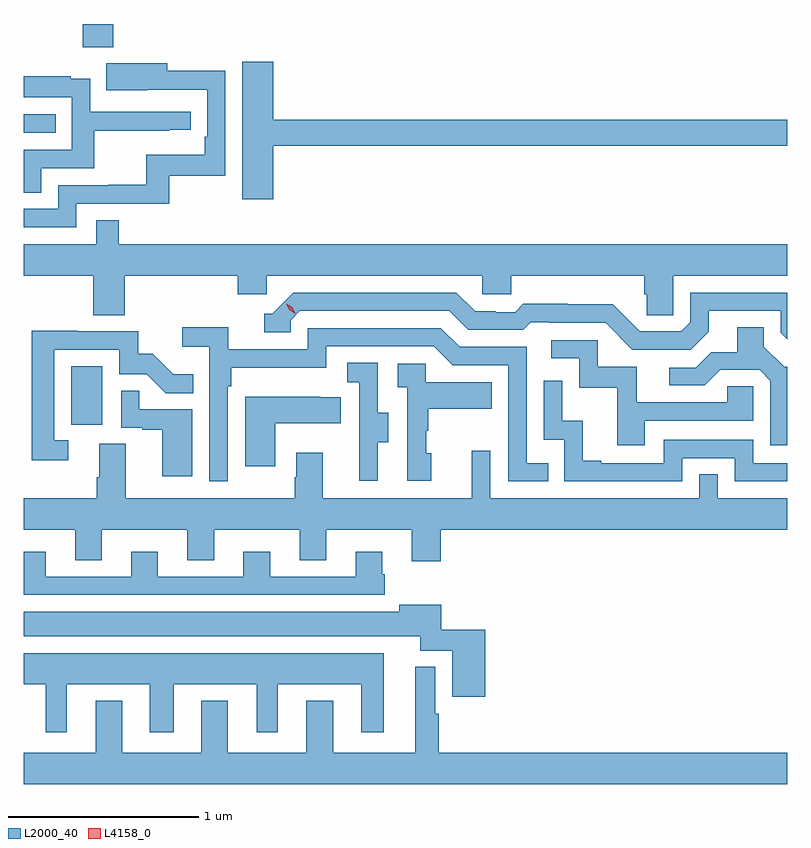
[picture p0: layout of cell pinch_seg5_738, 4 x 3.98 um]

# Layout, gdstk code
import gdstk
lib = gdstk.Library(unit=1e-6, precision=1e-09)
def R(c, l, rs):  # rectangles x0, y0, x1, y1
    for r in rs: c.add(gdstk.rectangle(r[:2], r[2:], *l))
def P(c, l, *ps):  # polygons
    for p in ps: c.add(gdstk.Polygon(p, *l))
L2000_40 = (2000, 40)
L4158_0 = (4158, 0)

pinch_seg5_738 = lib.new_cell('pinch_seg5_738')
R(pinch_seg5_738, L2000_40, [(865.508,899.934,865.672,900.241), (865.26,901.464,865.427,901.56), (865.57,901.913,865.73,902.034)])
P(pinch_seg5_738, L2000_40, [(866.566,901.396),(869.26,901.396),(869.26,901.532),(866.566,901.532),(866.566,901.837),(866.405,901.837),(866.405,901.116),(866.566,901.116)],
  [(865.536,901.092),(866.023,901.092),(866.023,901.239),(866.316,901.239),(866.316,901.79),(866.011,901.79),(866.011,901.828),(865.693,901.828),(865.693,901.688),(865.907,901.688),(865.907,901.689),(866.22,901.689),(866.22,901.444),(866.207,901.444),(866.207,901.348),(865.902,901.348),(865.902,901.193),(865.705,901.193),(865.705,901.188),(865.44,901.188),(865.44,901.065),(865.26,901.065),(865.26,900.969),(865.536,900.969)],
  [(865.351,901.278),(865.628,901.278),(865.628,901.474),(866.021,901.474),(866.021,901.479),(866.134,901.479),(866.134,901.575),(865.608,901.575),(865.608,901.747),(865.505,901.747),(865.505,901.759),(865.26,901.759),(865.26,901.65),(865.512,901.65),(865.512,901.374),(865.26,901.374),(865.26,901.15),(865.351,901.15)],
  [(865.757,901.007),(865.641,901.007),(865.641,900.88),(865.26,900.88),(865.26,900.716),(865.625,900.716),(865.625,900.508),(865.79,900.508),(865.79,900.716),(866.381,900.716),(866.381,900.618),(866.532,900.618),(866.532,900.716),(867.663,900.716),(867.663,900.618),(867.813,900.618),(867.813,900.716),(868.511,900.716),(868.511,900.618),(868.525,900.618),(868.525,900.508),(868.662,900.508),(868.662,900.716),(869.26,900.716),(869.26,900.88),(865.757,900.88)],
  [(868.849,900.421),(868.849,900.531),(869.226,900.531),(869.226,900.417),(869.26,900.383),(869.26,900.627),(868.752,900.627),(868.752,900.471),(868.704,900.423),(868.488,900.423),(868.346,900.565),(868.11,900.565),(868.11,900.568),(867.877,900.568),(867.835,900.525),(867.732,900.525),(867.732,900.528),(867.625,900.528),(867.526,900.627),(866.673,900.627),(866.562,900.516),(866.519,900.516),(866.519,900.42),(866.658,900.42),(866.658,900.483),(866.706,900.531),(867.489,900.531),(867.588,900.432),(867.877,900.432),(867.916,900.471),(868.015,900.471),(868.015,900.468),(868.308,900.468),(868.449,900.327),(868.755,900.327)],
  [(866.328,900.137),(866.348,900.137),(866.348,900.233),(866.844,900.233),(866.844,900.345),(867.408,900.345),(867.507,900.246),(867.798,900.246),(867.798,899.637),(868.007,899.637),(868.007,899.733),(867.894,899.733),(867.894,900.342),(867.544,900.342),(867.445,900.441),(866.748,900.441),(866.748,900.33),(866.33,900.33),(866.33,900.446),(866.091,900.446),(866.091,900.344),(866.232,900.344),(866.232,899.637),(866.328,899.637)],
  [(869.26,900.237),(869.244,900.237),(869.137,900.344),(869.137,900.446),(868.997,900.446),(868.997,900.314),(868.862,900.314),(868.782,900.234),(868.641,900.234),(868.641,900.141),(868.828,900.141),(868.909,900.222),(869.115,900.222),(869.172,900.165),(869.172,899.826),(869.26,899.826)],
  [(865.492,899.853),(865.419,899.853),(865.419,900.327),(865.761,900.327),(865.761,900.198),(865.905,900.198),(866.003,900.1),(866.147,900.1),(866.147,900.199),(866.043,900.199),(865.936,900.306),(865.86,900.306),(865.86,900.423),(865.541,900.423),(865.541,900.428),(865.303,900.428),(865.303,899.748),(865.492,899.748)],
  [(868.513,899.955),(869.082,899.955),(869.082,900.135),(868.945,900.135),(868.945,900.051),(868.471,900.051),(868.471,900.237),(868.266,900.237),(868.266,900.378),(868.023,900.378),(868.023,900.282),(868.17,900.282),(868.17,900.129),(868.369,900.129),(868.369,899.826),(868.513,899.826)],
  [(867.115,899.842),(867.169,899.842),(867.169,899.997),(867.114,899.997),(867.114,900.26),(866.955,900.26),(866.955,900.157),(867.018,900.157),(867.018,899.853),(867.017,899.853),(867.017,899.64),(867.115,899.64)],
  [(867.394,899.784),(867.369,899.784),(867.369,899.903),(867.379,899.903),(867.379,900.017),(867.713,900.017),(867.713,900.157),(867.366,900.157),(867.366,900.255),(867.219,900.255),(867.219,900.131),(867.27,900.131),(867.27,899.64),(867.394,899.64)],
  [(868.71,899.76),(868.986,899.76),(868.986,899.637),(869.26,899.637),(869.26,899.733),(869.082,899.733),(869.082,899.856),(868.614,899.856),(868.614,899.733),(868.285,899.733),(868.285,899.746),(868.19,899.746),(868.19,899.954),(868.08,899.954),(868.08,900.166),(867.984,900.166),(867.984,899.856),(868.092,899.856),(868.092,899.637),(868.71,899.637)],
  [(866.143,900.015),(865.865,900.015),(865.865,900.113),(865.77,900.113),(865.77,899.919),(865.881,899.919),(865.881,899.907),(865.985,899.907),(865.985,899.664),(866.143,899.664)],
  [(866.578,899.942),(866.921,899.942),(866.921,900.079),(866.813,900.079),(866.813,900.082),(866.42,900.082),(866.42,899.718),(866.578,899.718)],
  [(867.446,899.384),(869.26,899.384),(869.26,899.548),(868.896,899.548),(868.896,899.675),(868.8,899.675),(868.8,899.548),(867.705,899.548),(867.705,899.797),(867.608,899.797),(867.608,899.548),(866.827,899.548),(866.827,899.788),(866.687,899.788),(866.687,899.66),(866.68,899.66),(866.68,899.548),(865.795,899.548),(865.795,899.834),(865.655,899.834),(865.655,899.66),(865.643,899.66),(865.643,899.548),(865.26,899.548),(865.26,899.384),(865.529,899.384),(865.529,899.224),(865.669,899.224),(865.669,899.384),(866.117,899.384),(866.117,899.224),(866.257,899.224),(866.257,899.384),(866.705,899.384),(866.705,899.224),(866.845,899.224),(866.845,899.384),(867.293,899.384),(867.293,899.22),(867.446,899.22)],
  [(867.152,899.151),(867.139,899.151),(867.139,899.269),(866.999,899.269),(866.999,899.139),(866.551,899.139),(866.551,899.269),(866.411,899.269),(866.411,899.139),(865.963,899.139),(865.963,899.269),(865.823,899.269),(865.823,899.139),(865.375,899.139),(865.375,899.269),(865.26,899.269),(865.26,899.043),(867.152,899.043)],
  [(867.677,898.861),(867.448,898.861),(867.448,898.99),(867.227,898.99),(867.227,898.954),(865.26,898.954),(865.26,898.826),(867.338,898.826),(867.338,898.751),(867.506,898.751),(867.506,898.509),(867.677,898.509)],
  [(865.486,898.574),(865.919,898.574),(865.919,898.323),(866.047,898.323),(866.047,898.574),(866.48,898.574),(866.48,898.323),(866.59,898.323),(866.59,898.574),(867.029,898.574),(867.029,898.323),(867.145,898.323),(867.145,898.738),(865.26,898.738),(865.26,898.574),(865.376,898.574),(865.376,898.323),(865.486,898.323)],
  [(869.26,898.216),(867.433,898.216),(867.433,898.421),(867.415,898.421),(867.415,898.666),(867.311,898.666),(867.311,898.216),(866.881,898.216),(866.881,898.489),(866.741,898.489),(866.741,898.216),(866.329,898.216),(866.329,898.489),(866.189,898.489),(866.189,898.216),(865.777,898.216),(865.777,898.489),(865.637,898.489),(865.637,898.216),(865.26,898.216),(865.26,898.052),(869.26,898.052)])
P(pinch_seg5_738, L4158_0, [(866.682,900.517),(866.651,900.536),(866.634,900.568),(866.634,900.569),(866.635,900.569),(866.666,900.55),(866.682,900.517),(866.682,900.517)])

lib.write_gds('pinch_seg5_738.gds')
